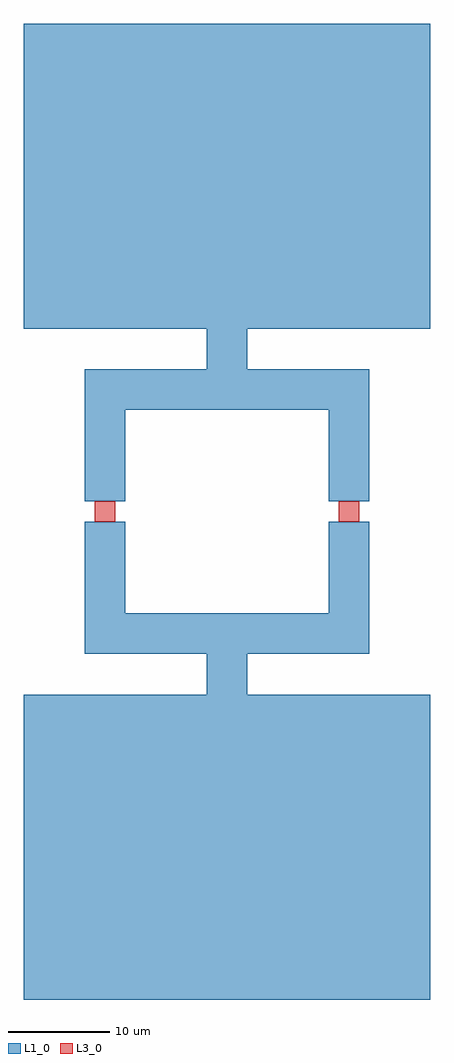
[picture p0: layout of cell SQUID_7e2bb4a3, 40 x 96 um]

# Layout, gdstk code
import gdstk
lib = gdstk.Library(unit=1e-6, precision=1e-09)
def R(c, l, rs):  # rectangles x0, y0, x1, y1
    for r in rs: c.add(gdstk.rectangle(r[:2], r[2:], *l))
L1_0 = (1, 0)
L3_0 = (3, 0)

squid_7e2bb4a3 = lib.new_cell('SQUID_7e2bb4a3')
R(squid_7e2bb4a3, L1_0, [(-20,-48,20,-18), (-2,-18,2,-14), (-14,-14,14,-10), (-14,-10,-10,-1), (10,-10,14,-1), (-14,1,-10,10), (10,1,14,10), (-14,10,14,14), (-2,14,2,18), (-20,18,20,48)])
R(squid_7e2bb4a3, L3_0, [(-13,-1,-11,1), (11,-1,13,1)])

lib.write_gds('SQUID_7e2bb4a3.gds')
